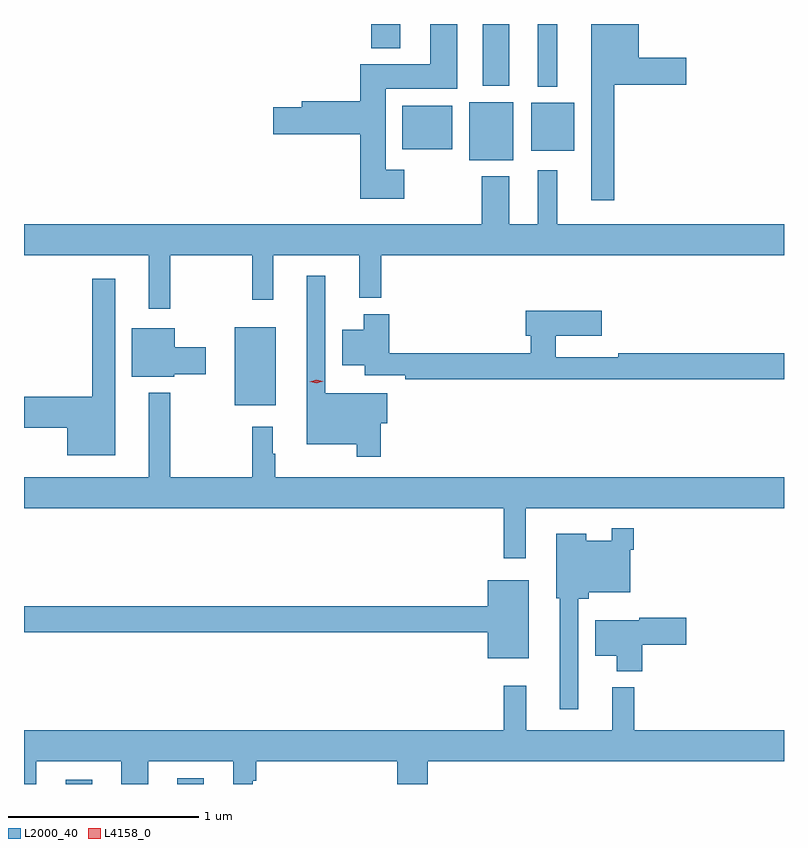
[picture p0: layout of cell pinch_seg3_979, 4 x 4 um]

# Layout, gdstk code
import gdstk
lib = gdstk.Library(unit=1e-6, precision=1e-09)
def R(c, l, rs):  # rectangles x0, y0, x1, y1
    for r in rs: c.add(gdstk.rectangle(r[:2], r[2:], *l))
def P(c, l, *ps):  # polygons
    for p in ps: c.add(gdstk.Polygon(p, *l))
L2000_40 = (2000, 40)
L4158_0 = (4158, 0)

pinch_seg3_979 = lib.new_cell('pinch_seg3_979')
R(pinch_seg3_979, L2000_40, [(397.565,734.097,397.705,734.119), (398.153,734.097,398.293,734.128), (398.456,736.091,398.671,736.501), (399.689,737.381,399.922,737.686), (400.016,737.429,400.243,737.683), (399.338,737.438,399.601,737.668), (400.049,737.768,400.153,738.097), (399.761,737.771,399.901,738.097), (399.173,737.969,399.325,738.097)])
P(pinch_seg3_979, L2000_40, [(400.453,737.777),(400.831,737.777),(400.831,737.919),(400.582,737.919),(400.582,738.097),(400.331,738.097),(400.331,737.169),(400.453,737.169)],
  [(399.346,737.329),(399.25,737.329),(399.25,737.756),(399.625,737.756),(399.625,738.097),(399.485,738.097),(399.485,737.884),(399.116,737.884),(399.116,737.69),(398.807,737.69),(398.807,737.66),(398.658,737.66),(398.658,737.518),(399.116,737.518),(399.116,737.177),(399.346,737.177)],
  [(398.117,736.88),(398.547,736.88),(398.547,736.647),(398.657,736.647),(398.657,736.88),(399.11,736.88),(399.11,736.655),(399.227,736.655),(399.227,736.88),(401.346,736.88),(401.346,737.044),(400.153,737.044),(400.153,737.326),(400.049,737.326),(400.049,737.044),(399.901,737.044),(399.901,737.296),(399.754,737.296),(399.754,737.044),(397.346,737.044),(397.346,736.88),(398.003,736.88),(398.003,736.599),(398.117,736.599)],
  [(399.224,735.995),(399.259,735.995),(399.259,736.153),(398.931,736.153),(398.931,736.771),(398.834,736.771),(398.834,735.884),(399.096,735.884),(399.096,735.819),(399.224,735.819)],
  [(397.825,736.756),(397.704,736.756),(397.704,736.136),(397.346,736.136),(397.346,735.971),(397.574,735.971),(397.574,735.827),(397.825,735.827)],
  [(401.346,736.364),(400.474,736.364),(400.474,736.344),(400.145,736.344),(400.145,736.457),(400.387,736.457),(400.387,736.587),(399.986,736.587),(399.986,736.457),(400.013,736.457),(400.013,736.364),(399.269,736.364),(399.269,736.57),(399.134,736.57),(399.134,736.489),(399.02,736.489),(399.02,736.301),(399.14,736.301),(399.14,736.248),(399.352,736.248),(399.352,736.228),(401.346,736.228)],
  [(398.136,736.253),(398.302,736.253),(398.302,736.395),(398.14,736.395),(398.14,736.495),(397.913,736.495),(397.913,736.241),(398.136,736.241)],
  [(399.988,735.548),(401.346,735.548),(401.346,735.712),(398.668,735.712),(398.668,735.836),(398.656,735.836),(398.656,735.976),(398.547,735.976),(398.547,735.712),(398.117,735.712),(398.117,736.156),(398.003,736.156),(398.003,735.712),(397.346,735.712),(397.346,735.548),(399.871,735.548),(399.871,735.285),(399.988,735.285)],
  [(400.263,735.071),(400.319,735.071),(400.319,735.107),(400.536,735.107),(400.536,735.329),(400.556,735.329),(400.556,735.442),(400.439,735.442),(400.439,735.376),(400.306,735.376),(400.306,735.415),(400.148,735.415),(400.148,735.075),(400.166,735.075),(400.166,734.49),(400.263,734.49)],
  [(400.003,735.169),(399.788,735.169),(399.788,735.032),(397.346,735.032),(397.346,734.896),(399.788,734.896),(399.788,734.759),(400.003,734.759)],
  [(400.601,734.83),(400.831,734.83),(400.831,734.972),(400.584,734.972),(400.584,734.959),(400.352,734.959),(400.352,734.771),(400.466,734.771),(400.466,734.69),(400.601,734.69)],
  [(397.346,734.097),(397.411,734.097),(397.411,734.216),(397.859,734.216),(397.859,734.097),(397.999,734.097),(397.999,734.216),(398.447,734.216),(398.447,734.097),(398.551,734.097),(398.551,734.114),(398.569,734.114),(398.569,734.216),(399.31,734.216),(399.31,734.097),(399.47,734.097),(399.47,734.216),(401.346,734.216),(401.346,734.38),(400.559,734.38),(400.559,734.605),(400.442,734.605),(400.442,734.38),(399.989,734.38),(399.989,734.614),(399.871,734.614),(399.871,734.38),(397.346,734.38)])
P(pinch_seg3_979, L4158_0, [(398.886,736.205),(398.85,736.213),(398.85,736.214),(398.85,736.214),(398.885,736.225),(398.921,736.217),(398.921,736.217),(398.921,736.216)])

lib.write_gds('pinch_seg3_979.gds')
